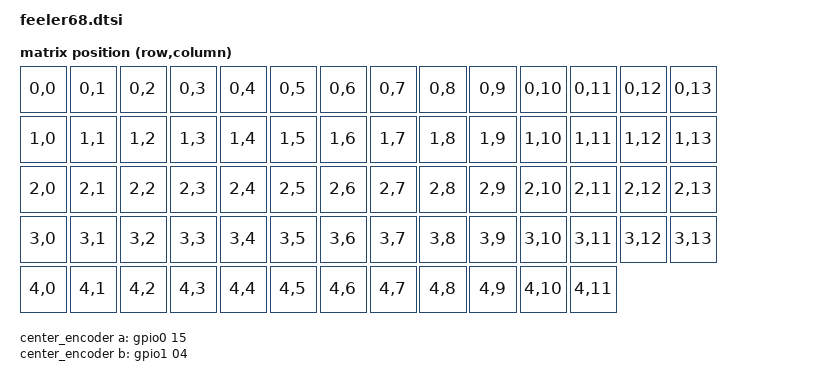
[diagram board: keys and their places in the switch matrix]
#include <dt-bindings/zmk/matrix_transform.h>
#include  "offsetkey_physical_layout.dtsi"
#include <dt-bindings/led/led.h>
#include <dt-bindings/zmk/outputs.h>
#include <dt-bindings/zmk/keys.h>

#include <dt-bindings/zmk/matrix_transform.h>
#include  "feeler68_physical_layout.dtsi"
#include "rgb.dtsi"


/ {
     chosen {
        zmk,physical-layout = &feeler68_physical_layout;
        zmk,kscan = &kscan0;
        zmk,backlight = &backlight;
        zmk,underglow = &led_strip;
    };

backlight: pwmleds {
    compatible = "pwm-leds";
    pwm_led_1: pwm_led_1 {
        pwms = <&pwm0 1 PWM_MSEC(1) PWM_POLARITY_NORMAL>;
    };
};
	center_encoder: encoder_center {
		compatible = "alps,ec11";
		label = "CENTER_ENCODER";
		resolution = <4>;
        steps = <40>;
        a-gpios = <&gpio0 15 (GPIO_ACTIVE_HIGH | GPIO_PULL_UP)>;
	    b-gpios = <&gpio1 04 (GPIO_ACTIVE_HIGH | GPIO_PULL_UP)>;
		status = "okay";
	};

    sensors {
		compatible = "zmk,keymap-sensors";
		sensors = <&center_encoder>;
	};

    default_transform: keymap_transform_0 {
		compatible = "zmk,matrix-transform";
        columns = <14>;
        rows = <5>;

        map = <
            RC(0,0) RC(0,1) RC(0,2) RC(0,3) RC(0,4) RC(0,5) RC(0,6) RC(0,7) RC(0,8) RC(0,9) RC(0,10) RC(0,11) RC(0,12) RC(0,13)
            RC(1,0) RC(1,1) RC(1,2) RC(1,3) RC(1,4) RC(1,5) RC(1,6) RC(1,7) RC(1,8) RC(1,9) RC(1,10) RC(1,11) RC(1,12) RC(1,13)
            RC(2,0) RC(2,1) RC(2,2) RC(2,3) RC(2,4) RC(2,5) RC(2,6) RC(2,7) RC(2,8) RC(2,9) RC(2,10) RC(2,11) RC(2,12) RC(2,13)
            RC(3,0) RC(3,1) RC(3,2) RC(3,3) RC(3,4) RC(3,5) RC(3,6) RC(3,7) RC(3,8) RC(3,9) RC(3,10) RC(3,11) RC(3,12) RC(3,13)
            RC(4,0) RC(4,1) RC(4,2) RC(4,3) RC(4,4) RC(4,5) RC(4,6) RC(4,7) RC(4,8) RC(4,9) RC(4,10) RC(4,11)
        >;
    };
};    

&i2c0 {
	status = "okay";
	compatible = "nordic,nrf-twi";
    pinctrl-0 = <&i2c0_default>;
    pinctrl-1 = <&i2c0_sleep>;
    oled: ssd1306@3c {
        compatible = "solomon,ssd1306fb";
        reg = <0x3c>;
        width = <128>;
        height = <32>;
        segment-offset = <0>;
        page-offset = <0>;
        display-offset = <0>;
        multiplex-ratio = <31>;
        segment-remap;
        com-invdir;
        com-sequential;
        inversion-on;
        prechargep = <0x22>;
    };
};



&pinctrl {
    // Other Pinctrl definitions go here
    pwm0_default: pwm0_default {
        group1 {
            psels = <NRF_PSEL(PWM_OUT1, 0, 27)>; // LED 1
                   
        };
    };
    pwm0_sleep: pwm0_sleep {
        group1 {
            psels = <NRF_PSEL(PWM_OUT1, 0, 27)>; // LED 1
                                                               
            low-power-enable;
        };
    };

    spi0_default: spi0_default {
        group1 {
            psels = <NRF_PSEL(SPIM_SCK, 0, 20)>,
                <NRF_PSEL(SPIM_MOSI, 0, 17)>,
                <NRF_PSEL(SPIM_MISO, 0, 25)>;
        };
    };

    spi0_sleep: spi0_sleep {
        group1 {
            psels = <NRF_PSEL(SPIM_SCK, 0, 20)>,
                <NRF_PSEL(SPIM_MOSI, 0, 17)>,
                <NRF_PSEL(SPIM_MISO, 0, 25)>;
            low-power-enable;
        };
    };

    spi3_default: spi3_default {
        group1 {
            psels = <NRF_PSEL(SPIM_MOSI, 0, 22)>; // WS2812_VEXT_DATA
        };
    };

    spi3_sleep: spi3_sleep {
        group1 {
            psels = <NRF_PSEL(SPIM_MOSI, 0, 22)>;
            low-power-enable;
        };
    };
};



nice_view_spi: &spi0 {
    compatible = "nordic,nrf-spim";
    pinctrl-0 = <&spi0_default>;
    pinctrl-1 = <&spi0_sleep>;
    pinctrl-names = "default", "sleep";
    cs-gpios = <&gpio0 6 GPIO_ACTIVE_HIGH>;
};
